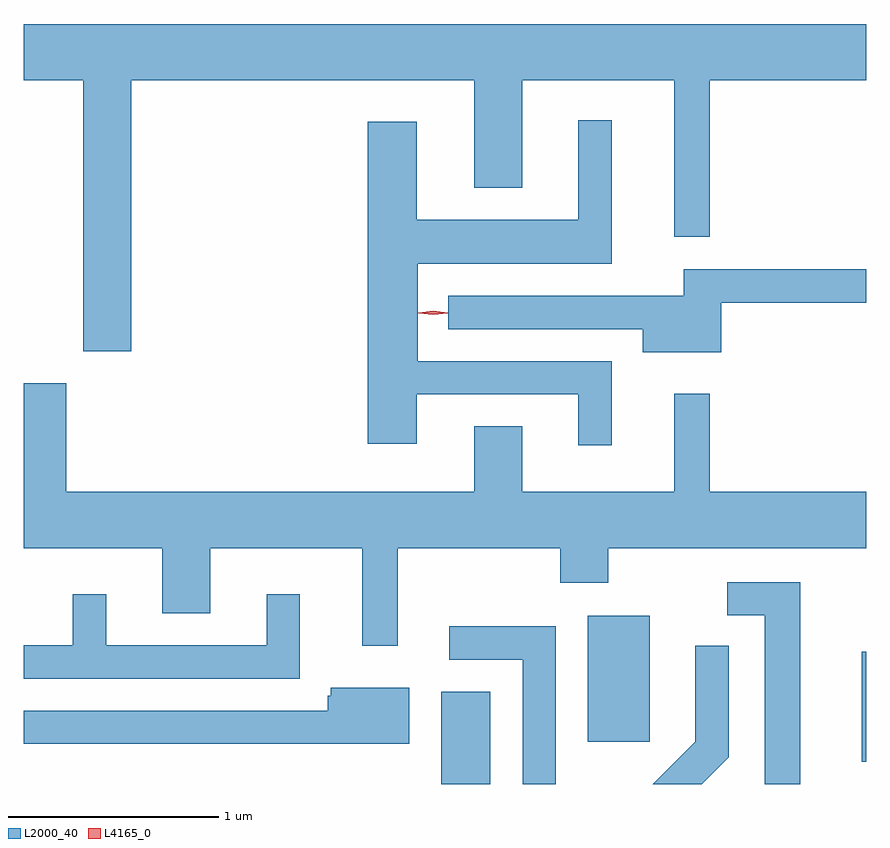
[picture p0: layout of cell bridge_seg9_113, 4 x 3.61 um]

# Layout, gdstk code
import gdstk
lib = gdstk.Library(unit=1e-6, precision=1e-09)
def R(c, l, rs):  # rectangles x0, y0, x1, y1
    for r in rs: c.add(gdstk.rectangle(r[:2], r[2:], *l))
def P(c, l, *ps):  # polygons
    for p in ps: c.add(gdstk.Polygon(p, *l))
L2000_40 = (2000, 40)
L4165_0 = (4165, 0)

bridge_seg9_113 = lib.new_cell('bridge_seg9_113')
R(bridge_seg9_113, L2000_40, [(1786.296,1964.056,1786.529,1964.494), (1788.291,1964.161,1788.313,1964.684), (1786.991,1964.256,1787.284,1964.854)])
P(bridge_seg9_113, L2000_40, [(1784.824,1967.396),(1786.451,1967.396),(1786.451,1966.886),(1786.679,1966.886),(1786.679,1967.396),(1787.401,1967.396),(1787.401,1966.653),(1787.569,1966.653),(1787.569,1967.396),(1788.313,1967.396),(1788.313,1967.664),(1784.313,1967.664),(1784.313,1967.396),(1784.596,1967.396),(1784.596,1966.111),(1784.824,1966.111)],
  [(1787.104,1966.064),(1786.184,1966.064),(1786.184,1966.526),(1787.104,1966.526),(1787.104,1967.208),(1786.946,1967.208),(1786.946,1966.734),(1786.179,1966.734),(1786.179,1967.199),(1785.946,1967.199),(1785.946,1965.671),(1786.179,1965.671),(1786.179,1965.906),(1786.946,1965.906),(1786.946,1965.663),(1787.104,1965.663)],
  [(1787.624,1966.341),(1788.313,1966.341),(1788.313,1966.499),(1787.446,1966.499),(1787.446,1966.374),(1786.328,1966.374),(1786.328,1966.216),(1787.251,1966.216),(1787.251,1966.106),(1787.624,1966.106)],
  [(1786.089,1965.176),(1786.861,1965.176),(1786.861,1965.011),(1787.089,1965.011),(1787.089,1965.176),(1788.313,1965.176),(1788.313,1965.444),(1787.569,1965.444),(1787.569,1965.908),(1787.401,1965.908),(1787.401,1965.444),(1786.679,1965.444),(1786.679,1965.754),(1786.451,1965.754),(1786.451,1965.444),(1784.514,1965.444),(1784.514,1965.959),(1784.313,1965.959),(1784.313,1965.176),(1784.971,1965.176),(1784.971,1964.866),(1785.199,1964.866),(1785.199,1965.176),(1785.921,1965.176),(1785.921,1964.713),(1786.089,1964.713)],
  [(1787.999,1965.014),(1787.653,1965.014),(1787.653,1964.856),(1787.831,1964.856),(1787.831,1964.056),(1787.999,1964.056)],
  [(1785.624,1964.958),(1785.466,1964.958),(1785.466,1964.714),(1784.704,1964.714),(1784.704,1964.958),(1784.546,1964.958),(1784.546,1964.714),(1784.313,1964.714),(1784.313,1964.556),(1785.624,1964.556)],
  [(1786.839,1964.804),(1786.333,1964.804),(1786.333,1964.646),(1786.681,1964.646),(1786.681,1964.056),(1786.839,1964.056)],
  [(1787.659,1964.184),(1787.659,1964.713),(1787.501,1964.713),(1787.501,1964.257),(1787.3,1964.056),(1787.531,1964.056)],
  [(1786.144,1964.514),(1785.771,1964.514),(1785.771,1964.475),(1785.756,1964.475),(1785.756,1964.404),(1784.313,1964.404),(1784.313,1964.246),(1786.144,1964.246)])
P(bridge_seg9_113, L4165_0, [(1786.257,1966.283),(1786.188,1966.292),(1786.187,1966.293),(1786.188,1966.293),(1786.257,1966.303),(1786.326,1966.293),(1786.326,1966.293),(1786.326,1966.292)],
  [(1786.257,1966.283),(1786.191,1966.292),(1786.19,1966.293),(1786.191,1966.293),(1786.257,1966.303),(1786.322,1966.293),(1786.323,1966.293),(1786.322,1966.292)])

lib.write_gds('bridge_seg9_113.gds')
